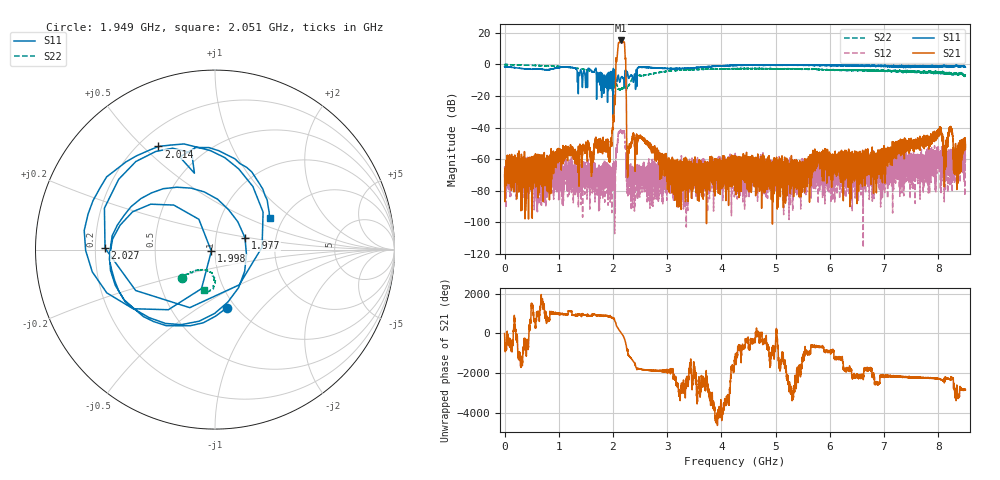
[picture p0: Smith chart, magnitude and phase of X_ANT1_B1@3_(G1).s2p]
#  HZ  S  RI  R  50.00
! Rohde & Schwarz Vector Network Analyzer
! Rohde-Schwarz,ZNBT8-20Port,1318700624101681,3.50
! Created: UTC 7/15/2025, 2:08:28 PM
! freq[Hz]  re:S1010  im:S1010  re:S0310  im:S0310  re:S1003  im:S1003  re:S33  im:S33
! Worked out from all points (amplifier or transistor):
!   8500 points, 1 MHz to 8.5 GHz, reference 50 ohm
!   highest |S21| = 15.0 dB at 2.143 GHz (marker M1)
!   |S21| within 3 dB of that: 2.095 GHz to 2.215 GHz (119.8 MHz wide, 5.56 % of centre)
!   unconditionally stable (mu >= 1): start of sweep to end of sweep
!   at 1.417 GHz: K = 2227216.16, MAG = -55.8 dB, |S12| = -81.9 dB
!   at 4.251 GHz: K = 237791.82, MAG = -50.8 dB, |S12| = -74.4 dB
!   at 8.5 GHz: K = 39440.42, MAG = -44.8 dB, |S12| = -58.9 dB
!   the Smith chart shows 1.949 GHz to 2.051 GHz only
!   S11 on the Smith chart (normalised r, x): 1.949 GHz: 0.91, -0.66; 1.977 GHz: 1.39, +0.19; 1.998 GHz: 0.96, -0.02; 2.014 GHz: 0.28, +0.56; 2.027 GHz: 0.24, +0.01; 2.051 GHz: 1.71, +0.68
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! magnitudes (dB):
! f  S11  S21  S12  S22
! 1 MHz  -1.6  -69.9  -71.3  -0.2
! 1.418 GHz  -5.1  -59.2  -71.5  -3.1
! 1.949 GHz  -9.6  -52.1  -68.0  -12.3
! 1.977 GHz  -14.9  -49.8  -73.9  -15.0
! 1.998 GHz  -33.1  -37.6  -74.9  -18.1
! 2.014 GHz  -3.7  -35.9  -60.8  -16.6
! 2.027 GHz  -4.3  -19.7  -68.2  -14.4
! 2.051 GHz  -9.1  -6.7  -66.7  -12.6
! 2.143 GHz  -9.0  15.0  -41.7  -15.5
! 2.205 GHz  -10.9  13.9  -43.1  -14.7
! 2.293 GHz  -8.5  -53.5  -65.5  -13.3
! 2.51 GHz  -1.9  -45.5  -66.9  -7.2
! 2.834 GHz  -2.3  -57.2  -80.3  -5.3
! 3.252 GHz  -2.7  -86.0  -72.3  -3.7
! 4.251 GHz  -0.7  -62.5  -74.4  -2.7
! 5.667 GHz  -0.4  -62.6  -76.8  -3.1
! 7.084 GHz  -1.0  -57.4  -59.6  -4.0
! 8.02 GHz  -2.0  -42.8  -63.3  -5.5
! 8.122 GHz  -1.0  -58.7  -58.8  -5.2
! 8.232 GHz  -1.8  -40.5  -60.3  -5.1
! 8.323 GHz  -1.2  -64.8  -58.9  -6.2
! 8.5 GHz  -1.8  -50.6  -58.9  -6.6
